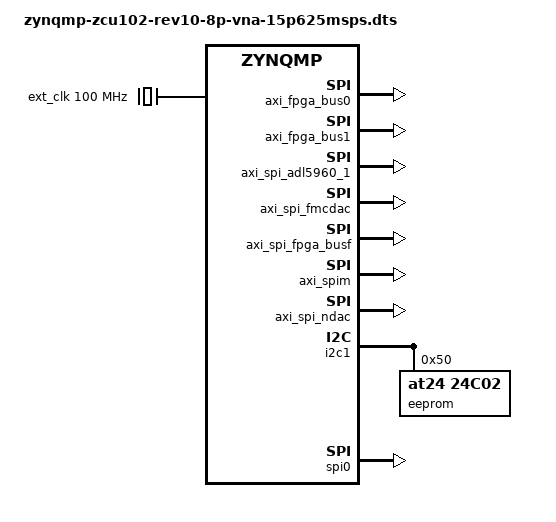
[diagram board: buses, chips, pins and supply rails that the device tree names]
// SPDX-License-Identifier: GPL-2.0
/*
 * Analog Devices AD9083-ADL5960
 * https://wiki.analog.com/resources/eval/dpg/ad9083-fmc-ebz
 * https://wiki.analog.com/resources/eval/dpg/eval-ad9083
 *
 * hdl_project: <adc_fmc_ebz/zcu102>
 * board_revision: <>
 *
 * Copyright (C) 2023 Analog Devices Inc.
 */

#include "zynqmp-zcu102-rev1.0.dts"
#include <dt-bindings/clock/xlnx-zynqmp-clk.h>
#include <dt-bindings/interrupt-controller/irq.h>
#include <dt-bindings/pwm/pwm.h>
#include <dt-bindings/jesd204/adxcvr.h>

/ {
    clocks {
		ext_clk: clock@0 {
			#clock-cells = <0>;
			compatible = "fixed-clock";
			clock-frequency = <100000000>;
		};
	};

	fpga_axi: fpga-axi@0 {
		interrupt-parent = <&gic>;
		compatible = "simple-bus";
		#address-cells = <0x1>;
		#size-cells = <0x1>;
		ranges = <0 0 0 0xffffffff>;

		rx_dma: dma@9c400000 {
			compatible = "adi,axi-dmac-1.00.a";
			reg = <0x9c400000 0x10000>;
			#dma-cells = <1>;
			#clock-cells = <0>;
			interrupts = <0 109 IRQ_TYPE_LEVEL_HIGH>;
			clocks = <&zynqmp_clk 73>;
		};

		axi_ad9083_core_rx: axi-ad9083-rx-hpc@84a00000 {
			compatible = "adi,axi-ad9083-rx-1.0";
			reg = <0x84a00000 0x8000>;
			dmas = <&rx_dma 0>;
			dma-names = "rx";
			spibus-connected = <&adc0_ad9083>;

			jesd204-device;
			#jesd204-cells = <2>;
			jesd204-inputs = <&axi_ad9083_rx_jesd 0 0>;
		};

		axi_ad9083_rx_jesd: axi-jesd204-rx@0x84AA0000 {
			compatible = "adi,axi-jesd204-rx-1.0";
			reg = <0x84AA0000 0x1000>;

			interrupts = <0 108 IRQ_TYPE_LEVEL_HIGH>;

			clocks = <&zynqmp_clk 71>, <&ad9528 1>, <&axi_ad9083_adxcvr_rx 0>, <&axi_ad9083_adxcvr_rx 1>;
			clock-names = "s_axi_aclk", "device_clk", "lane_clk", "link_clk";

			#clock-cells = <0>;
			clock-output-names = "jesd_rx_lane_clk";

			jesd204-device;
			#jesd204-cells = <2>;
			jesd204-inputs = <&axi_ad9083_adxcvr_rx 0 0>;
		};

		axi_ad9083_adxcvr_rx: axi-adxcvr-rx@84a60000 {
			#address-cells = <1>;
			#size-cells = <0>;
			compatible = "adi,axi-adxcvr-1.0";
			reg = <0x84a60000 0x1000>;

			clocks = <&ad9528 3>;
			clock-names = "conv";

			#clock-cells = <1>;
			clock-output-names = "rx_gt_clk", "rx_out_clk";

			adi,sys-clk-select = <XCVR_QPLL>;
			adi,out-clk-select = <XCVR_PROGDIV_CLK>;
			adi,use-lpm-enable;

			jesd204-device;
			#jesd204-cells = <2>;
			jesd204-inputs = <&ad9528 0 0>;
		};

		axi_fpga_bus0: spi@88000000 {
			#address-cells = <1>;
			#size-cells = <0>;
			bits-per-word = <8>;
			clock-names = "ext_spi_clk", "s_axi_aclk";
			clocks = <&zynqmp_clk 71>, <&zynqmp_clk 71>;
			compatible = "xlnx,axi-quad-spi-3.2", "xlnx,xps-spi-2.00.a";
			fifo-size = <16>;
			interrupt-names = "ip2intc_irpt";
			interrupt-parent = <&gic>;
			interrupts = <0 107 1>;
			num-cs = <0x2>;
			reg = <0x88000000 0x1000>;
			xlnx,num-ss-bits = <0x2>;
			xlnx,spi-mode = <0>;
		};

		axi_fpga_bus1: spi@88100000 {
			#address-cells = <1>;
			#size-cells = <0>;
			bits-per-word = <8>;
			clock-names = "ext_spi_clk", "s_axi_aclk";
			clocks = <&zynqmp_clk 71>, <&zynqmp_clk 71>;
			compatible = "xlnx,axi-quad-spi-3.2", "xlnx,xps-spi-2.00.a";
			fifo-size = <16>;
			interrupt-names = "ip2intc_irpt";
			interrupt-parent = <&gic>;
			interrupts = <0 106 1>;
			num-cs = <0x4>;
			reg = <0x88100000 0x1000>;
			xlnx,num-ss-bits = <0x4>;
			xlnx,spi-mode = <0>;
		};

		axi_spi_adl5960_1: spi@88200000 {
			bits-per-word = <8>;
			clock-names = "ext_spi_clk", "s_axi_aclk";
			clocks = <&zynqmp_clk 71>, <&zynqmp_clk 71>;
			compatible = "xlnx,axi-quad-spi-3.2", "xlnx,xps-spi-2.00.a";
			fifo-size = <16>;
			interrupt-names = "ip2intc_irpt";
			interrupt-parent = <&gic>;
			interrupts = <0 104 1>;
			num-cs = <0x8>;
			reg = <0x88200000 0x1000>;
			xlnx,num-ss-bits = <0x8>;
			xlnx,spi-mode = <0>;
			#address-cells = <1>;
			#size-cells = <0>;
		};

		axi_spi_fmcdac: spi@88300000 {
			#address-cells = <1>;
			#size-cells = <0>;
			bits-per-word = <8>;
			clock-names = "ext_spi_clk", "s_axi_aclk";
			clocks = <&zynqmp_clk 71>, <&zynqmp_clk 71>;
			compatible = "xlnx,axi-quad-spi-3.2", "xlnx,xps-spi-2.00.a";
			fifo-size = <16>;
			interrupt-names = "ip2intc_irpt";
			interrupt-parent = <&gic>;
			interrupts = <0 92 1>;
			num-cs = <0x1>;
			reg = <0x88300000 0x1000>;
			xlnx,num-ss-bits = <0x1>;
			xlnx,spi-mode = <0>;
		};

		axi_spi_fpga_busf: spi@88400000 {
			#address-cells = <1>;
			#size-cells = <0>;
			bits-per-word = <8>;
			clock-names = "ext_spi_clk", "s_axi_aclk";
			clocks = <&zynqmp_clk 71>, <&zynqmp_clk 71>;
			compatible = "xlnx,axi-quad-spi-3.2", "xlnx,xps-spi-2.00.a";
			fifo-size = <16>;
			interrupt-names = "ip2intc_irpt";
			interrupt-parent = <&gic>;
			interrupts = <0 105 1>;
			num-cs = <0x1>;
			reg = <0x88400000 0x1000>;
			xlnx,num-ss-bits = <0x1>;
			xlnx,spi-mode = <0>;
		};

		axi_spim: spi@88500000 {
			#address-cells = <1>;
			#size-cells = <0>;
			bits-per-word = <8>;
			clock-names = "ext_spi_clk", "s_axi_aclk";
			clocks = <&zynqmp_clk 71>, <&zynqmp_clk 71>;
			compatible = "xlnx,axi-quad-spi-3.2", "xlnx,xps-spi-2.00.a";
			fifo-size = <16>;
			interrupt-names = "ip2intc_irpt";
			interrupt-parent = <&gic>;
			interrupts = <0 111 1>;
			num-cs = <0x2>;
			reg = <0x88500000 0x1000>;
			xlnx,num-ss-bits = <0x2>;
			xlnx,spi-mode = <0>;
		};

		axi_spi_ndac: spi@88600000 {
			#address-cells = <1>;
			#size-cells = <0>;
			bits-per-word = <8>;
			clock-names = "ext_spi_clk", "s_axi_aclk";
			compatible = "xlnx,axi-quad-spi-3.2", "xlnx,xps-spi-2.00.a";
			fifo-size = <16>;
			interrupt-names = "ip2intc_irpt";
			interrupt-parent = <&gic>;
			interrupts = <0 95 1>;
			num-cs = <0x1>;
			reg = <0x88600000 0x1000>;
			xlnx,num-ss-bits = <0x1>;
			xlnx,spi-mode = <1>;
		};

		tx_dma: tx-dmac@9c420000 {
			#dma-cells = <1>;
			compatible = "adi,axi-dmac-1.00.a";
			reg = <0x9c420000 0x10000>;
			interrupts = <0 94 IRQ_TYPE_LEVEL_HIGH>;
			clocks = <&zynqmp_clk 71>;
		};

		axi_ad9172_core: axi-ad9172-hpc@84b04000 {
			compatible = "adi,axi-ad9172-1.0";
			reg = <0x84b04000 0x10000>;
			dmas = <&tx_dma 0>;
			dma-names = "tx";
			spibus-connected = <&dac0_ad9172>;
			adi,axi-pl-fifo-enable;

			/* jesd204-fsm support */
			jesd204-device;
			#jesd204-cells = <2>;
			jesd204-inputs = <&axi_ad9172_jesd 1 0>;
		};

		axi_ad9172_jesd: axi-jesd204-tx@84b90000 {
			compatible = "adi,axi-jesd204-tx-1.0";
			reg = <0x84b90000 0x4000>;

			interrupts = <0 93 IRQ_TYPE_LEVEL_HIGH>;

			clocks = <&zynqmp_clk 71>, <&axi_ad9172_adxcvr 1>, <&axi_ad9172_adxcvr 0>;
			clock-names = "s_axi_aclk", "device_clk", "lane_clk";

			#clock-cells = <0>;
			clock-output-names = "jesd_dac_lane_clk";

			/* jesd204-fsm support */
			jesd204-device;
			#jesd204-cells = <2>;
			jesd204-inputs = <&axi_ad9172_adxcvr 1 0>;
		};

		axi_ad9172_adxcvr: axi-adxcvr-tx@84b60000 {
			compatible = "adi,axi-adxcvr-1.0";
			reg = <0x84b60000 0x1000>;

			clocks = <&ad9528 10>;
			clock-names = "conv";

			adi,sys-clk-select = <XCVR_QPLL>;
			adi,out-clk-select = <XCVR_PROGDIV_CLK>;
			adi,use-lpm-enable;

			#clock-cells = <1>;
			clock-output-names = "tx_gt_clk", "tx_out_clk";

			/* jesd204-fsm support */
			jesd204-device;
			#jesd204-cells = <2>;
			jesd204-inputs = <&ad9528 1 0>;
		};

		axi_sysid_0: axi-sysid-0@85000000 {
			compatible = "adi,axi-sysid-1.00.a";
			reg = <0x85000000 0x10000>;
		};
	};
};

&i2c1 {
	i2c-mux@75 {
		i2c@0 {
			#address-cells = <1>;
			#size-cells = <0>;
			reg = <0>;
			eeprom@50 {
				compatible = "at24,24c02";
				reg = <0x50>;
			};
		};
	};
};

&spi0 {
	status = "okay";
};

#include "adi-ad9083-8p-vna.dtsi"

&adc0_ad9083 {
	pwdn-gpios = <&gpio 110 0>;
};
